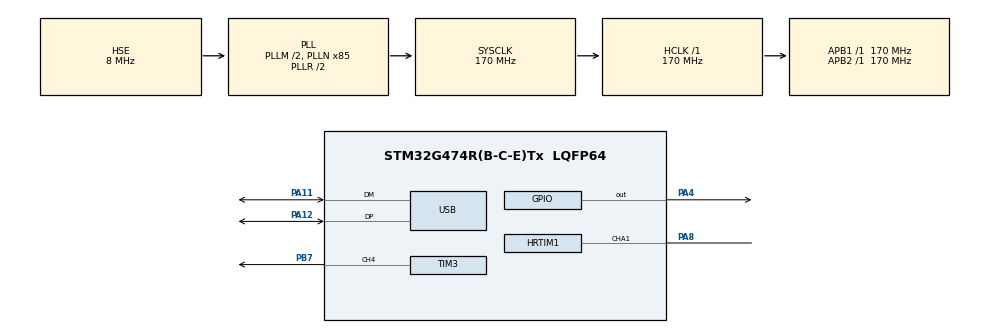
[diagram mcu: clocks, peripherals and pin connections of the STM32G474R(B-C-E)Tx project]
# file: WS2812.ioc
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Dma.Request0=TIM3_CH4
Dma.TIM3_CH4.0.Direction=DMA_MEMORY_TO_PERIPH
Dma.TIM3_CH4.0.EventEnable=DISABLE
Dma.TIM3_CH4.0.Instance=DMA1_Channel1
Dma.TIM3_CH4.0.MemDataAlignment=DMA_MDATAALIGN_HALFWORD
Dma.TIM3_CH4.0.MemInc=DMA_MINC_ENABLE
Dma.TIM3_CH4.0.Mode=DMA_NORMAL
Dma.TIM3_CH4.0.PeriphDataAlignment=DMA_PDATAALIGN_HALFWORD
Dma.TIM3_CH4.0.PeriphInc=DMA_PINC_DISABLE
Dma.TIM3_CH4.0.Polarity=HAL_DMAMUX_REQ_GEN_RISING
Dma.TIM3_CH4.0.Priority=DMA_PRIORITY_LOW
Dma.TIM3_CH4.0.RequestNumber=1
Dma.TIM3_CH4.0.SignalID=NONE
Dma.TIM3_CH4.0.SyncEnable=DISABLE
Dma.TIM3_CH4.0.SyncPolarity=HAL_DMAMUX_SYNC_NO_EVENT
Dma.TIM3_CH4.0.SyncRequestNumber=1
Dma.TIM3_CH4.0.SyncSignalID=NONE
Mcu.Family=STM32G4
Mcu.Name=STM32G474R(B-C-E)Tx
Mcu.Package=LQFP64
Mcu.UserConstants=DUTY_111,0.8
NVIC.DMA1_Channel1_IRQn=true\:0\:0\:false\:false\:true\:false\:true\:true
NVIC.PriorityGroup=NVIC_PRIORITYGROUP_4
NVIC.TIM3_IRQn=true\:0\:0\:false\:false\:true\:true\:true\:true
NVIC.USB_LP_IRQn=true\:0\:0\:false\:false\:true\:false\:true\:true
PA11.Mode=Device
PA11.Signal=USB_DM
PA12.Mode=Device
PA12.Signal=USB_DP
PA4.Signal=GPIO_Output
PA8.Mode=Output_TA1
PA8.Signal=HRTIM1_CHA1
PB7.GPIO_FM7=__NULL
PB7.GPIO_ModeDefaultPP=GPIO_MODE_AF_PP
PB7.GPIO_PuPd=GPIO_NOPULL
PB7.GPIO_Speed=GPIO_SPEED_FREQ_VERY_HIGH
PB7.Signal=S_TIM3_CH4
PC14-OSC32_IN.Mode=LSE-External-Oscillator
PC14-OSC32_IN.Signal=RCC_OSC32_IN
PC15-OSC32_OUT.Mode=LSE-External-Oscillator
PC15-OSC32_OUT.Signal=RCC_OSC32_OUT
PF0-OSC_IN.Mode=HSE-External-Oscillator
PF0-OSC_IN.Signal=RCC_OSC_IN
PF1-OSC_OUT.Mode=HSE-External-Oscillator
PF1-OSC_OUT.Signal=RCC_OSC_OUT
ProjectManager.HeapSize=0x200
ProjectManager.StackSize=0x400
ProjectManager.TargetToolchain=STM32CubeIDE
RCC.ADC12Freq_Value=170000000
RCC.ADC345Freq_Value=170000000
RCC.AHBFreq_Value=170000000
RCC.APB1Freq_Value=170000000
RCC.APB1TimFreq_Value=170000000
RCC.APB2Freq_Value=170000000
RCC.APB2TimFreq_Value=170000000
RCC.CK48CLockSelection=RCC_USBCLKSOURCE_HSI48
RCC.CortexFreq_Value=170000000
RCC.EXTERNAL_CLOCK_VALUE=12288000
RCC.HCLKFreq_Value=170000000
RCC.HSE_VALUE=8000000
RCC.HSI48_VALUE=48000000
RCC.HSI_VALUE=16000000
RCC.PLLM=RCC_PLLM_DIV2
RCC.PLLN=85
RCC.PLLSourceVirtual=RCC_PLLSOURCE_HSE
RCC.RTCClockSelection=RCC_RTCCLKSOURCE_LSE
RCC.SYSCLKFreq_VALUE=170000000
RCC.SYSCLKSource=RCC_SYSCLKSOURCE_PLLCLK
RCC.USBFreq_Value=48000000
RCC.VCOOutputFreq_Value=340000000
SH.S_TIM3_CH4.0=TIM3_CH4,PWM Generation4 CH4
TIM3.AutoReloadPreload=TIM_AUTORELOAD_PRELOAD_ENABLE
TIM3.Channel-PWM\ Generation4\ CH4=TIM_CHANNEL_4
TIM3.PeriodNoDither=214
TIM3.Prescaler=0
USB_DEVICE.CLASS_NAME_FS=CDC
USB_DEVICE.VirtualMode=Cdc
USB_DEVICE.VirtualModeFS=Cdc_FS
VP_RTC_VS_RTC_Activate.Mode=RTC_Enabled
VP_SYS_VS_DBSignals.Mode=DisableDeadBatterySignals
VP_TIM3_VS_ClockSourceINT.Mode=Internal
VP_USB_DEVICE_VS_USB_DEVICE_CDC_FS.Mode=CDC_FS
VREF+.Mode=InternalMode
VREF+.Signal=VREFBUF_OUT
board=custom

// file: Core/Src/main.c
/* USER CODE BEGIN Header */
/**
  ******************************************************************************
  * @file           : main.c
  * @brief          : Main program body
  ******************************************************************************
  * @attention
  *
  * Copyright (c) 2024 STMicroelectronics.
  * All rights reserved.
  *
  * This software is licensed under terms that can be found in the LICENSE file
  * in the root directory of this software component.
  * If no LICENSE file comes with this software, it is provided AS-IS.
  *
  ******************************************************************************
  */
/* USER CODE END Header */
#include "main.h"
#include "usb_device.h"

/* USER CODE BEGIN Includes */

#include "ws2812.h"

/* USER CODE END Includes */

HRTIM_HandleTypeDef hhrtim1;

RTC_HandleTypeDef hrtc;

TIM_HandleTypeDef htim3;
DMA_HandleTypeDef hdma_tim3_ch4;

void SystemClock_Config(void);
static void MX_GPIO_Init(void);
static void MX_DMA_Init(void);
static void MX_TIM3_Init(void);
static void MX_RTC_Init(void);
static void MX_HRTIM1_Init(void);

/* USER CODE BEGIN 0 */
//uint32_t test_ws2812_data[24]={70,140,70,140,70,70,140,70,140,70,70,140,70,140,70,70,140,70,140,70,70,140,70,140,70};
//uint32_t test_ws2812_data0[24]={0};
/* USER CODE END 0 */

int main(void)
{

  /* MCU Configuration--------------------------------------------------------*/

  /* Reset of all peripherals, Initializes the Flash interface and the Systick. */
  HAL_Init();

  /* Configure the system clock */
  SystemClock_Config();

  /* Initialize all configured peripherals */
  MX_GPIO_Init();
  MX_DMA_Init();
  MX_TIM3_Init();
  MX_USB_Device_Init();
  MX_RTC_Init();
  MX_HRTIM1_Init();
  /* USER CODE BEGIN 2 */

  HAL_TIM_Base_Start(&htim3);
//  HAL_TIM_PWM_Start(&htim3, TIM_CHANNEL_4);
//  HAL_TIM_PWM_Start(&htim3, TIM_CHANNEL_2);

  /* Enable HRTIM's outputs TA1 and start Timer A */

  /* USER CODE END 2 */

  /* Infinite loop */
  /* USER CODE BEGIN WHILE */
  while (1)
  {
	  HAL_GPIO_WritePin(GPIOA, GPIO_PIN_4, 0);
	  HAL_Delay(1);
	  HAL_GPIO_WritePin(GPIOA, GPIO_PIN_4, 1);
//      for (int period = 0; period < 100; period++) {
//          __HAL_TIM_SET_COMPARE(&htim3, TIM_CHANNEL_4, 70);

          HAL_Delay(7);
//      }`
      // �??????????????????99逐渐减小�??????????????????0
//      for (int period = 100; period >= 0; period--) {
//          __HAL_TIM_SET_COMPARE(&htim3, TIM_CHANNEL_4, 140);
//          HAL_Delay(7);
//      }
//          for (int i = 0; i < 100000; ++i) {
	 ws2812_set_all(rgb_to_color(0xff, 0x00, 0x00));
	 ws2812_gradient(100, 10);
	 HAL_Delay(1000);
	 ws2812_set_all(rgb_to_color(0x00, 0x00, 0xff));
	 ws2812_gradient(100, 10);
	 HAL_Delay(1000);
	 ws2812_set_all(rgb_to_color(0x00, 0xff, 0x00));
	 ws2812_gradient(100, 10);
	 HAL_Delay(1000);
//	 HAL_Delay(1);

//		}

    /* USER CODE END WHILE */

  }
}

void SystemClock_Config(void)
{
  RCC_OscInitTypeDef RCC_OscInitStruct = {0};
  RCC_ClkInitTypeDef RCC_ClkInitStruct = {0};

  /** Configure the main internal regulator output voltage
  */
  HAL_PWREx_ControlVoltageScaling(PWR_REGULATOR_VOLTAGE_SCALE1_BOOST);

  /** Configure LSE Drive Capability
  */
  HAL_PWR_EnableBkUpAccess();
  __HAL_RCC_LSEDRIVE_CONFIG(RCC_LSEDRIVE_LOW);

  /** Initializes the RCC Oscillators according to the specified parameters
  * in the RCC_OscInitTypeDef structure.
  */
  RCC_OscInitStruct.OscillatorType = RCC_OSCILLATORTYPE_HSI48|RCC_OSCILLATORTYPE_HSE
                              |RCC_OSCILLATORTYPE_LSE;
  RCC_OscInitStruct.HSEState = RCC_HSE_ON;
  RCC_OscInitStruct.LSEState = RCC_LSE_ON;
  RCC_OscInitStruct.HSI48State = RCC_HSI48_ON;
  RCC_OscInitStruct.PLL.PLLState = RCC_PLL_ON;
  RCC_OscInitStruct.PLL.PLLSource = RCC_PLLSOURCE_HSE;
  RCC_OscInitStruct.PLL.PLLM = RCC_PLLM_DIV2;
  RCC_OscInitStruct.PLL.PLLN = 85;
  RCC_OscInitStruct.PLL.PLLP = RCC_PLLP_DIV2;
  RCC_OscInitStruct.PLL.PLLQ = RCC_PLLQ_DIV2;
  RCC_OscInitStruct.PLL.PLLR = RCC_PLLR_DIV2;
  if (HAL_RCC_OscConfig(&RCC_OscInitStruct) != HAL_OK)
  {
    Error_Handler();
  }

  /** Initializes the CPU, AHB and APB buses clocks
  */
  RCC_ClkInitStruct.ClockType = RCC_CLOCKTYPE_HCLK|RCC_CLOCKTYPE_SYSCLK
                              |RCC_CLOCKTYPE_PCLK1|RCC_CLOCKTYPE_PCLK2;
  RCC_ClkInitStruct.SYSCLKSource = RCC_SYSCLKSOURCE_PLLCLK;
  RCC_ClkInitStruct.AHBCLKDivider = RCC_SYSCLK_DIV1;
  RCC_ClkInitStruct.APB1CLKDivider = RCC_HCLK_DIV1;
  RCC_ClkInitStruct.APB2CLKDivider = RCC_HCLK_DIV1;

  if (HAL_RCC_ClockConfig(&RCC_ClkInitStruct, FLASH_LATENCY_4) != HAL_OK)
  {
    Error_Handler();
  }
}

static void MX_HRTIM1_Init(void)
{

  HRTIM_TimeBaseCfgTypeDef pTimeBaseCfg = {0};
  HRTIM_TimerCtlTypeDef pTimerCtl = {0};
  HRTIM_TimerCfgTypeDef pTimerCfg = {0};
  HRTIM_OutputCfgTypeDef pOutputCfg = {0};

  hhrtim1.Instance = HRTIM1;
  hhrtim1.Init.HRTIMInterruptResquests = HRTIM_IT_NONE;
  hhrtim1.Init.SyncOptions = HRTIM_SYNCOPTION_NONE;
  if (HAL_HRTIM_Init(&hhrtim1) != HAL_OK)
  {
    Error_Handler();
  }
  if (HAL_HRTIM_DLLCalibrationStart(&hhrtim1, HRTIM_CALIBRATIONRATE_3) != HAL_OK)
  {
    Error_Handler();
  }
  if (HAL_HRTIM_PollForDLLCalibration(&hhrtim1, 10) != HAL_OK)
  {
    Error_Handler();
  }
  pTimeBaseCfg.Period = 0xFFDF;
  pTimeBaseCfg.RepetitionCounter = 0x00;
  pTimeBaseCfg.PrescalerRatio = HRTIM_PRESCALERRATIO_MUL32;
  pTimeBaseCfg.Mode = HRTIM_MODE_CONTINUOUS;
  if (HAL_HRTIM_TimeBaseConfig(&hhrtim1, HRTIM_TIMERINDEX_TIMER_A, &pTimeBaseCfg) != HAL_OK)
  {
    Error_Handler();
  }
  pTimerCtl.UpDownMode = HRTIM_TIMERUPDOWNMODE_UP;
  pTimerCtl.DualChannelDacEnable = HRTIM_TIMER_DCDE_DISABLED;
  if (HAL_HRTIM_WaveformTimerControl(&hhrtim1, HRTIM_TIMERINDEX_TIMER_A, &pTimerCtl) != HAL_OK)
  {
    Error_Handler();
  }
  pTimerCfg.InterruptRequests = HRTIM_TIM_IT_NONE;
  pTimerCfg.DMARequests = HRTIM_TIM_DMA_NONE;
  pTimerCfg.DMASrcAddress = 0x0000;
  pTimerCfg.DMADstAddress = 0x0000;
  pTimerCfg.DMASize = 0x1;
  pTimerCfg.HalfModeEnable = HRTIM_HALFMODE_DISABLED;
  pTimerCfg.InterleavedMode = HRTIM_INTERLEAVED_MODE_DISABLED;
  pTimerCfg.StartOnSync = HRTIM_SYNCSTART_DISABLED;
  pTimerCfg.ResetOnSync = HRTIM_SYNCRESET_DISABLED;
  pTimerCfg.DACSynchro = HRTIM_DACSYNC_NONE;
  pTimerCfg.PreloadEnable = HRTIM_PRELOAD_DISABLED;
  pTimerCfg.UpdateGating = HRTIM_UPDATEGATING_INDEPENDENT;
  pTimerCfg.BurstMode = HRTIM_TIMERBURSTMODE_MAINTAINCLOCK;
  pTimerCfg.RepetitionUpdate = HRTIM_UPDATEONREPETITION_DISABLED;
  pTimerCfg.PushPull = HRTIM_TIMPUSHPULLMODE_DISABLED;
  pTimerCfg.FaultEnable = HRTIM_TIMFAULTENABLE_NONE;
  pTimerCfg.FaultLock = HRTIM_TIMFAULTLOCK_READWRITE;
  pTimerCfg.DeadTimeInsertion = HRTIM_TIMDEADTIMEINSERTION_DISABLED;
  pTimerCfg.DelayedProtectionMode = HRTIM_TIMER_A_B_C_DELAYEDPROTECTION_DISABLED;
  pTimerCfg.UpdateTrigger = HRTIM_TIMUPDATETRIGGER_NONE;
  pTimerCfg.ResetTrigger = HRTIM_TIMRESETTRIGGER_NONE;
  pTimerCfg.ResetUpdate = HRTIM_TIMUPDATEONRESET_DISABLED;
  pTimerCfg.ReSyncUpdate = HRTIM_TIMERESYNC_UPDATE_UNCONDITIONAL;
  if (HAL_HRTIM_WaveformTimerConfig(&hhrtim1, HRTIM_TIMERINDEX_TIMER_A, &pTimerCfg) != HAL_OK)
  {
    Error_Handler();
  }
  pOutputCfg.Polarity = HRTIM_OUTPUTPOLARITY_HIGH;
  pOutputCfg.SetSource = HRTIM_OUTPUTSET_NONE;
  pOutputCfg.ResetSource = HRTIM_OUTPUTRESET_NONE;
  pOutputCfg.IdleMode = HRTIM_OUTPUTIDLEMODE_NONE;
  pOutputCfg.IdleLevel = HRTIM_OUTPUTIDLELEVEL_INACTIVE;
  pOutputCfg.FaultLevel = HRTIM_OUTPUTFAULTLEVEL_NONE;
  pOutputCfg.ChopperModeEnable = HRTIM_OUTPUTCHOPPERMODE_DISABLED;
  pOutputCfg.BurstModeEntryDelayed = HRTIM_OUTPUTBURSTMODEENTRY_REGULAR;
  if (HAL_HRTIM_WaveformOutputConfig(&hhrtim1, HRTIM_TIMERINDEX_TIMER_A, HRTIM_OUTPUT_TA1, &pOutputCfg) != HAL_OK)
  {
    Error_Handler();
  }
  HAL_HRTIM_MspPostInit(&hhrtim1);

}

static void MX_RTC_Init(void)
{

  /** Initialize RTC Only
  */
  hrtc.Instance = RTC;
  hrtc.Init.HourFormat = RTC_HOURFORMAT_24;
  hrtc.Init.AsynchPrediv = 127;
  hrtc.Init.SynchPrediv = 255;
  hrtc.Init.OutPut = RTC_OUTPUT_DISABLE;
  hrtc.Init.OutPutRemap = RTC_OUTPUT_REMAP_NONE;
  hrtc.Init.OutPutPolarity = RTC_OUTPUT_POLARITY_HIGH;
  hrtc.Init.OutPutType = RTC_OUTPUT_TYPE_OPENDRAIN;
  hrtc.Init.OutPutPullUp = RTC_OUTPUT_PULLUP_NONE;
  if (HAL_RTC_Init(&hrtc) != HAL_OK)
  {
    Error_Handler();
  }

}

static void MX_TIM3_Init(void)
{

  TIM_ClockConfigTypeDef sClockSourceConfig = {0};
  TIM_MasterConfigTypeDef sMasterConfig = {0};
  TIM_OC_InitTypeDef sConfigOC = {0};

  htim3.Instance = TIM3;
  htim3.Init.Prescaler = 0;
  htim3.Init.CounterMode = TIM_COUNTERMODE_UP;
  htim3.Init.Period = 214;
  htim3.Init.ClockDivision = TIM_CLOCKDIVISION_DIV1;
  htim3.Init.AutoReloadPreload = TIM_AUTORELOAD_PRELOAD_ENABLE;
  if (HAL_TIM_Base_Init(&htim3) != HAL_OK)
  {
    Error_Handler();
  }
  sClockSourceConfig.ClockSource = TIM_CLOCKSOURCE_INTERNAL;
  if (HAL_TIM_ConfigClockSource(&htim3, &sClockSourceConfig) != HAL_OK)
  {
    Error_Handler();
  }
  if (HAL_TIM_PWM_Init(&htim3) != HAL_OK)
  {
    Error_Handler();
  }
  sMasterConfig.MasterOutputTrigger = TIM_TRGO_RESET;
  sMasterConfig.MasterSlaveMode = TIM_MASTERSLAVEMODE_DISABLE;
  if (HAL_TIMEx_MasterConfigSynchronization(&htim3, &sMasterConfig) != HAL_OK)
  {
    Error_Handler();
  }
  sConfigOC.OCMode = TIM_OCMODE_PWM1;
  sConfigOC.Pulse = 0;
  sConfigOC.OCPolarity = TIM_OCPOLARITY_HIGH;
  sConfigOC.OCFastMode = TIM_OCFAST_DISABLE;
  if (HAL_TIM_PWM_ConfigChannel(&htim3, &sConfigOC, TIM_CHANNEL_4) != HAL_OK)
  {
    Error_Handler();
  }
  HAL_TIM_MspPostInit(&htim3);

}

static void MX_DMA_Init(void)
{

  /* DMA controller clock enable */
  __HAL_RCC_DMAMUX1_CLK_ENABLE();
  __HAL_RCC_DMA1_CLK_ENABLE();

  /* DMA interrupt init */
  /* DMA1_Channel1_IRQn interrupt configuration */
  HAL_NVIC_SetPriority(DMA1_Channel1_IRQn, 0, 0);
  HAL_NVIC_EnableIRQ(DMA1_Channel1_IRQn);

}

static void MX_GPIO_Init(void)
{
  GPIO_InitTypeDef GPIO_InitStruct = {0};

  /* GPIO Ports Clock Enable */
  __HAL_RCC_GPIOC_CLK_ENABLE();
  __HAL_RCC_GPIOF_CLK_ENABLE();
  __HAL_RCC_GPIOA_CLK_ENABLE();
  __HAL_RCC_GPIOB_CLK_ENABLE();

  /*Configure GPIO pin Output Level */
  HAL_GPIO_WritePin(GPIOA, GPIO_PIN_4, GPIO_PIN_RESET);

  /*Configure GPIO pin : PA4 */
  GPIO_InitStruct.Pin = GPIO_PIN_4;
  GPIO_InitStruct.Mode = GPIO_MODE_OUTPUT_PP;
  GPIO_InitStruct.Pull = GPIO_NOPULL;
  GPIO_InitStruct.Speed = GPIO_SPEED_FREQ_LOW;
  HAL_GPIO_Init(GPIOA, &GPIO_InitStruct);

}

void Error_Handler(void)
{
  __disable_irq();
  while (1)
  {
  }
}
